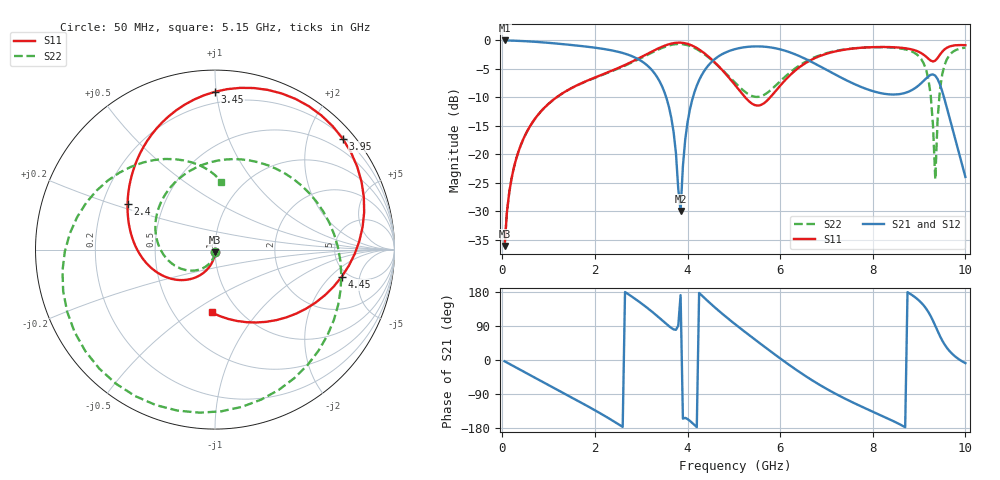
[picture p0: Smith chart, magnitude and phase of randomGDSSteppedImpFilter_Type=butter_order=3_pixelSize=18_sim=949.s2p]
! freq	dB(S11)	phase(S11)	dB(S12)	phase(S12)
!  dB(S21)	phase(S21)	dB(S22)	phase(S22)
!S-par simulation data
#  GHz  S  DB  R 50
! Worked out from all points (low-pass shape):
!   200 points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, 50 MHz to 10 GHz, reference 50 ohm
!   highest |S21| = -0.02 dB at 50 MHz (marker M1); lowest = -29.9 dB at 3.85 GHz (marker M2)
!   |S21| within 3 dB of the highest: start of sweep to 2.866 GHz; 4.633 GHz to 6.484 GHz (1.852 GHz wide, 33.3 % of centre)
!   lowest |S11| = -36.1 dB at 50 MHz (marker M3), VSWR 1.03, Z = 50 - j1.56 ohm
!   |S11| at or under -10 dB: start of sweep to 1.171 GHz; 5.244 GHz to 5.786 GHz (541.7 MHz wide, 9.82 % of centre)
!   |S22| runs from -36.1 to -0.6 dB; largest |S21 - S12| = 0
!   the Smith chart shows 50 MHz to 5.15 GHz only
!   S11 on the Smith chart (normalised r, x): 50 MHz: 1.00, -0.03; 2.4 GHz: 0.31, +0.22; 3.45 GHz: 0.13, +0.99; 3.95 GHz: 0.24, +2.66; 4.45 GHz: 4.36, -2.77; 5.15 GHz: 0.76, -0.60
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0.05  -36.11 -89.1  -0.02 -3.4  -0.02 -3.4  -36.14 -90.4
0.2  -24.24 -100.4  -0.04 -13.4  -0.04 -13.4  -24.27 -105.5
0.5  -16.54 -117.2  -0.15 -33.3  -0.15 -33.3  -16.56 -130.2
1.75  -7.38 -178.5  -1.03 -115.6  -1.03 -115.6  -7.41 125.9
2.4  -5.21 152.5  -1.82 -161.3  -1.82 -161.3  -5.29 63.3
3  -2.93 121.9  -3.61 149.7  -3.61 149.7  -3.09 -5.0
3.4  -1.29 94.1  -7.24 110.3  -7.24 110.3  -1.50 -58.3
3.45  -1.11 89.9  -8.07 105.0  -8.07 105.0  -1.33 -65.5
3.7  -0.48 66.9  -16.15 80.8  -16.15 80.8  -0.71 -103.1
3.85  -0.41 51.6  -29.94 171.1  -29.94 171.1  -0.64 -126.4
3.95  -0.51 40.9  -17.43 -152.7  -17.43 -152.7  -0.75 -141.9
4.45  -2.83 -12.2  -4.39 154.1  -4.39 154.1  -2.97 147.2
5.05  -8.09 -79.0  -1.48 92.2  -1.48 92.2  -7.62 90.1
5.15  -9.10 -93.1  -1.31 82.7  -1.31 82.7  -8.40 84.8
5.9  -8.92 129.9  -1.39 13.2  -1.39 13.2  -7.96 71.1
6.7  -3.31 45.3  -3.87 -54.2  -3.87 -54.2  -3.13 22.5
7.45  -1.56 -5.2  -7.09 -105.0  -7.09 -105.0  -1.52 -25.6
8.35  -1.17 -50.2  -9.48 -155.8  -9.48 -155.8  -1.24 -75.7
9.15  -2.85 -83.0  -6.69 136.0  -6.69 136.0  -5.11 -140.4
9.35  -3.56 -76.9  -6.20 90.3  -6.20 90.3  -24.39 -92.0
9.5  -1.99 -76.8  -8.96 51.5  -8.96 51.5  -5.96 -55.5
10  -0.84 -104.4  -23.99 -8.3  -23.99 -8.3  -1.27 -112.5
